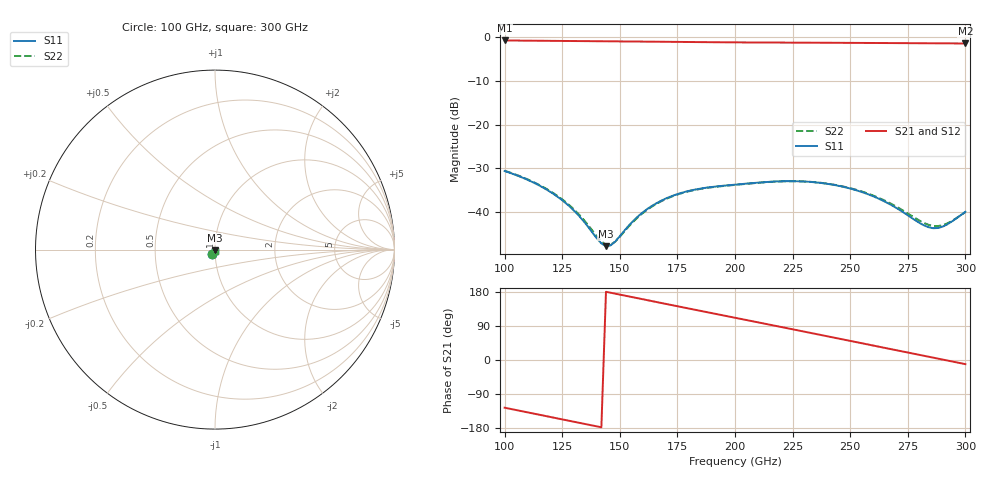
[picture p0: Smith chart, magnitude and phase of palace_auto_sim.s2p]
#  GHZ S DB R 50
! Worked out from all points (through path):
!   101 points, 100 GHz to 300 GHz, reference 50 ohm
!   highest |S21| = -0.76 dB at 100 GHz (marker M1); lowest = -1.4 dB at 300 GHz (marker M2)
!   group delay of S21, straight-line fit = 3.4 ps
!   lowest |S11| = -47.8 dB at 144 GHz (marker M3), VSWR 1.01, Z = 49.8 - j0.372 ohm
!   |S11| at or under -10 dB: start of sweep to end of sweep
!   |S22| runs from -47.4 to -30.5 dB; largest |S21 - S12| = 9.9e-14
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100  -30.61 -124.4  -0.76 -125.9  -0.76 -125.9  -30.53 -124.4
110  -32.62 -137.7  -0.80 -138.2  -0.80 -138.2  -32.51 -137.7
120  -35.42 -149.1  -0.85 -150.5  -0.85 -150.5  -35.27 -149.2
128  -38.60 -154.9  -0.88 -160.4  -0.88 -160.4  -38.37 -155.0
134  -41.88 -153.9  -0.91 -167.7  -0.91 -167.7  -41.54 -154.4
142  -47.16 -128.2  -0.94 -177.6  -0.94 -177.6  -46.71 -131.2
144  -47.78 -114.1  -0.95 180.0  -0.95 180.0  -47.45 -118.1
146  -47.59 -99.4  -0.96 177.5  -0.96 177.5  -47.45 -103.8
148  -46.71 -87.0  -0.97 175.0  -0.97 175.0  -46.74 -91.2
158  -40.92 -66.8  -1.01 162.8  -1.01 162.8  -41.10 -68.6
168  -37.38 -71.8  -1.05 150.5  -1.05 150.5  -37.51 -72.9
182  -34.91 -85.7  -1.12 133.3  -1.12 133.3  -35.00 -86.5
200  -33.72 -101.6  -1.20 111.5  -1.20 111.5  -33.77 -102.2
210  -33.26 -109.6  -1.22 99.3  -1.22 99.3  -33.30 -110.1
218  -32.99 -116.9  -1.24 89.6  -1.24 89.6  -33.02 -117.3
234  -33.15 -133.4  -1.27 70.0  -1.27 70.0  -33.13 -133.7
252  -34.90 -151.5  -1.32 48.0  -1.32 48.0  -34.80 -151.6
268  -38.43 -160.4  -1.36 28.3  -1.36 28.3  -38.16 -160.6
280  -42.44 -149.2  -1.39 13.6  -1.39 13.6  -41.91 -150.8
286  -43.67 -130.6  -1.41 6.2  -1.41 6.2  -43.16 -134.3
292  -42.83 -110.0  -1.42 -1.1  -1.42 -1.1  -42.60 -115.0
300  -39.93 -96.1  -1.45 -10.9  -1.45 -10.9  -39.99 -100.4
